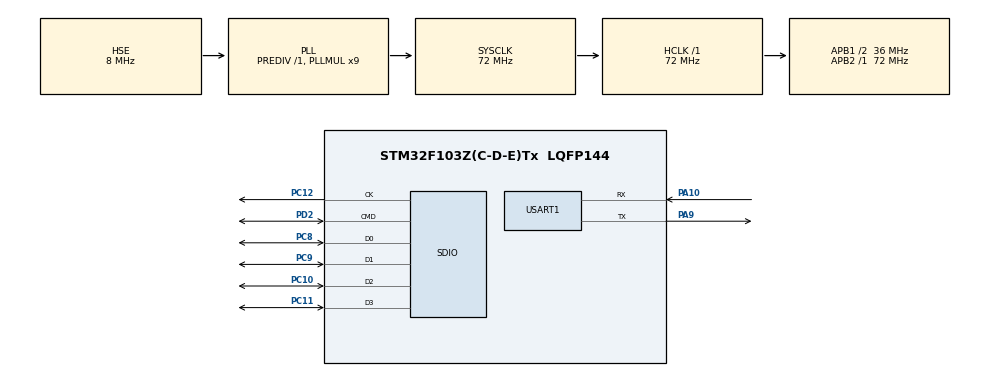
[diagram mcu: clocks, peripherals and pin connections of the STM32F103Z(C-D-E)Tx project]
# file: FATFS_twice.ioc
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Dma.Request0=SDIO
Dma.SDIO.0.Direction=DMA_PERIPH_TO_MEMORY
Dma.SDIO.0.Instance=DMA2_Channel4
Dma.SDIO.0.MemDataAlignment=DMA_MDATAALIGN_WORD
Dma.SDIO.0.MemInc=DMA_MINC_ENABLE
Dma.SDIO.0.Mode=DMA_NORMAL
Dma.SDIO.0.PeriphDataAlignment=DMA_PDATAALIGN_WORD
Dma.SDIO.0.PeriphInc=DMA_PINC_DISABLE
Dma.SDIO.0.Priority=DMA_PRIORITY_LOW
FATFS._CODE_PAGE=936
FATFS._FS_NORTC=1
FATFS._USE_LFN=2
Mcu.Family=STM32F1
Mcu.Name=STM32F103Z(C-D-E)Tx
Mcu.Package=LQFP144
NVIC.DMA2_Channel4_5_IRQn=true\:2\:0\:true\:false\:true\:false\:true
NVIC.PriorityGroup=NVIC_PRIORITYGROUP_4
NVIC.SDIO_IRQn=true\:0\:0\:false\:false\:true\:true\:true
OSC_IN.Mode=HSE-External-Oscillator
OSC_IN.Signal=RCC_OSC_IN
OSC_OUT.Mode=HSE-External-Oscillator
OSC_OUT.Signal=RCC_OSC_OUT
PA10.Mode=Asynchronous
PA10.Signal=USART1_RX
PA9.Mode=Asynchronous
PA9.Signal=USART1_TX
PC10.Mode=SD_4_bits_Wide_bus
PC10.Signal=SDIO_D2
PC11.Mode=SD_4_bits_Wide_bus
PC11.Signal=SDIO_D3
PC12.Mode=SD_4_bits_Wide_bus
PC12.Signal=SDIO_CK
PC8.Mode=SD_4_bits_Wide_bus
PC8.Signal=SDIO_D0
PC9.Mode=SD_4_bits_Wide_bus
PC9.Signal=SDIO_D1
PD2.Mode=SD_4_bits_Wide_bus
PD2.Signal=SDIO_CMD
ProjectManager.HeapSize=0x400
ProjectManager.StackSize=0x1000
ProjectManager.TargetToolchain=MDK-ARM V5.27
RCC.AHBFreq_Value=72000000
RCC.APB1CLKDivider=RCC_HCLK_DIV2
RCC.APB1Freq_Value=36000000
RCC.APB1TimFreq_Value=72000000
RCC.APB2Freq_Value=72000000
RCC.APB2TimFreq_Value=72000000
RCC.HCLKFreq_Value=72000000
RCC.PLLMUL=RCC_PLL_MUL9
RCC.PLLSourceVirtual=RCC_PLLSOURCE_HSE
RCC.SYSCLKFreq_VALUE=72000000
RCC.SYSCLKSource=RCC_SYSCLKSOURCE_PLLCLK
RCC.USBFreq_Value=72000000
SDIO.ClockDiv=4
USART1.VirtualMode=VM_ASYNC
VP_FATFS_VS_SDIO.Mode=SDIO
VP_SYS_VS_ND.Mode=No_Debug
board=custom

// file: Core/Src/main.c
/* USER CODE BEGIN Header */
/**
  ******************************************************************************
  * @file           : main.c
  * @brief          : Main program body
  ******************************************************************************
  * @attention
  *
  * <h2><center>&copy; Copyright (c) 2021 STMicroelectronics.
  * All rights reserved.</center></h2>
  *
  * This software component is licensed by ST under BSD 3-Clause license,
  * the "License"; You may not use this file except in compliance with the
  * License. You may obtain a copy of the License at:
  *                        opensource.org/licenses/BSD-3-Clause
  *
  ******************************************************************************
  */
/* USER CODE END Header */
#include "main.h"
#include "fatfs.h"

/* USER CODE BEGIN Includes */
#include "debug.h"
/* USER CODE END Includes */

/* USER CODE BEGIN PD */
#define block_num 8
#define block_size 512
#define TESTADDR 0x00000020
/* USER CODE END PD */

SD_HandleTypeDef hsd;
DMA_HandleTypeDef hdma_sdio;

UART_HandleTypeDef huart1;

/* USER CODE BEGIN PV */
__align(4) uint8_t BufferRx[block_num * block_size];
__align(4) uint8_t BufferTx[block_num * block_size];

FATFS fs;                 // Work area (file system object) for logical drive
FIL fil;                  // file objects
uint32_t byteswritten;                /* File write counts */
uint32_t bytesread;                   /* File read counts */
uint8_t wtext[] = "This is STM32 working with FatFs"; /* File write buffer */
uint8_t rtext[100];                     /* File read buffers */
char filename[] = "STM32cube.txt";

/* USER CODE END PV */

void SystemClock_Config(void);
static void MX_GPIO_Init(void);
static void MX_DMA_Init(void);
static void MX_SDIO_SD_Init(void);
static void MX_USART1_UART_Init(void);

/* USER CODE BEGIN 0 */
int eBuffercmp(uint8_t* pBuffer, uint32_t BufferLength)
{
    while(BufferLength--)
    {
        if((*pBuffer != 0xFF) && (*pBuffer != 0))
        {
            return -1;
        }
        pBuffer++;
    }
    return 0;
}

int Buffercmp(uint8_t* pBuffer1, uint8_t* pBuffer2, uint32_t BufferLength)
{
    while(BufferLength--)
    {
        if(*pBuffer1 != *pBuffer2)
        {
            return -1;
        }
        pBuffer1++;
        pBuffer2++;
    }
    return 0;
}

void Fill_Buffer(uint8_t* pBuffer, uint32_t BufferLength, uint32_t offset)
{
    uint32_t index = 0;

    for(index = 0; index < BufferLength; index++)
    {
        pBuffer[index] = index + offset;
    }
}

void set_dma_read(SD_HandleTypeDef* hsd)
{
    /* SDIO DMA DeInit */
    HAL_DMA_DeInit(hsd->hdmatx);

    hdma_sdio.Instance = DMA2_Channel4;
    hdma_sdio.Init.Direction = DMA_PERIPH_TO_MEMORY;
    hdma_sdio.Init.PeriphInc = DMA_PINC_DISABLE;
    hdma_sdio.Init.MemInc = DMA_MINC_ENABLE;
    hdma_sdio.Init.PeriphDataAlignment = DMA_PDATAALIGN_WORD;
    hdma_sdio.Init.MemDataAlignment = DMA_MDATAALIGN_WORD;
    hdma_sdio.Init.Mode = DMA_NORMAL;
    hdma_sdio.Init.Priority = DMA_PRIORITY_LOW;
    if(HAL_DMA_Init(&hdma_sdio) != HAL_OK)
    {
        Error_Handler();
    }

    __HAL_LINKDMA(hsd, hdmarx, hdma_sdio);
}

void set_dma_write(SD_HandleTypeDef* hsd)
{

    /* SDIO DMA DeInit */
    HAL_DMA_DeInit(hsd->hdmarx);

    hdma_sdio.Instance = DMA2_Channel4;
    hdma_sdio.Init.Direction = DMA_MEMORY_TO_PERIPH;
    hdma_sdio.Init.PeriphInc = DMA_PINC_DISABLE;
    hdma_sdio.Init.MemInc = DMA_MINC_ENABLE;
    hdma_sdio.Init.PeriphDataAlignment = DMA_PDATAALIGN_WORD;
    hdma_sdio.Init.MemDataAlignment = DMA_MDATAALIGN_WORD;
    hdma_sdio.Init.Mode = DMA_NORMAL;
    hdma_sdio.Init.Priority = DMA_PRIORITY_LOW;
    if(HAL_DMA_Init(&hdma_sdio) != HAL_OK)
    {
        Error_Handler();
    }

    __HAL_LINKDMA(hsd, hdmatx, hdma_sdio);
}

void SD_EraseTest(void)
{
    int state = -1;

    if(HAL_OK == HAL_SD_Erase(&hsd, TESTADDR, TESTADDR + block_num * block_size))
    {
        printf("SD Erase over\r\n");
    }
    else
    {
        printf("SD Erase fail\r\n");
        while(1);
    }

    HAL_Delay(500);              //bug1

    state = HAL_SD_ReadBlocks(&hsd, BufferRx, TESTADDR, block_num, 0xffff);
    if(HAL_OK == state)
    {
        printf("SD read\r\n");
        if(0 == eBuffercmp(BufferRx, block_num * block_size))
        {
            printf("erase successful\r\n");
        }
    }
    else
    {
        printf("error:%d\r\n", state);
        printf("SD read error\r\n");
        printf("errcode:%d\r\n", HAL_SD_GetError(&hsd));
        while(1);
    }

}

int state = -1;
void SD_Write_Read_Test(void)
{

    Fill_Buffer(BufferTx, block_num * block_size, 0x0001);

    set_dma_write(&hsd);
    if(HAL_OK == HAL_SD_WriteBlocks_DMA(&hsd, BufferTx, TESTADDR, block_num))
    {
        printf("write ok\r\n");
    }

    HAL_Delay(1000);

    set_dma_read(&hsd);
    if(HAL_SD_ReadBlocks_DMA(&hsd, BufferRx, TESTADDR, block_num) == HAL_OK)
    {
        printf("read ok\r\n");
    }

    HAL_Delay(1000);

    if(0 == Buffercmp(BufferTx, BufferRx, block_num * block_size))
        printf("读写测试成功！\r\n");
    else
        printf("读写测试失败！\r\n ");
}

void Fatfs_RW_test(void)
{
    printf("\r\n ****** FatFs Example ******\r\n\r\n");

    /*##-1- Register the file system object to the FatFs module ##############*/
    retSD = f_mount(&fs, "", 1);
    if(retSD)
    {
        printf(" mount error : %d \r\n", retSD);
        Error_Handler();
    }
    else
        printf(" mount sucess!!! \r\n");

    /*##-2- Create and Open new text file objects with write access ######*/
    retSD = f_open(&fil, "note.txt", FA_CREATE_ALWAYS | FA_WRITE);
    if(retSD)
        printf(" open file error : %d\r\n", retSD);
    else
        printf(" open file sucess!!! \r\n");

    /*##-3- Write data to the text files ###############################*/
    retSD = f_write(&fil, "welcome my home!", sizeof("welcome my home!"), (void*)&byteswritten);
    if(retSD)
        printf(" write file error : %d\r\n", retSD);
    else
    {
        printf(" write file sucess!!! \r\n");
        printf(" write Data : %s\r\n", wtext);
    }

    /*##-4- Close the open text files ################################*/
    retSD = f_close(&fil);
    if(retSD)
        printf(" close error : %d\r\n", retSD);
    else
        printf(" close sucess!!! \r\n");

    /*##-5- Open the text files object with read access ##############*/
    retSD = f_open(&fil, "note.txt", FA_READ);
    if(retSD)
        printf(" open file error : %d\r\n", retSD);
    else
        printf(" open file sucess!!! \r\n");

    /*##-6- Read data from the text files ##########################*/
    retSD = f_read(&fil, rtext, sizeof(rtext), (UINT*)&bytesread);
    if(retSD)
        printf(" read error!!! %d\r\n", retSD);
    else
    {
        printf(" read sucess!!! \r\n");
        printf(" read Data : %s\r\n", rtext);
    }

    /*##-7- Close the open text files ############################*/
    retSD = f_close(&fil);
    if(retSD)
        printf(" close error!!! %d\r\n", retSD);
    else
        printf(" close sucess!!! \r\n");

    /*##-8- Compare read data with the expected data ############*/
    if(bytesread == byteswritten)
    {
        printf(" FatFs is working well!!!\r\n");
    }
}

/* USER CODE END 0 */

int main(void)
{

    /* MCU Configuration--------------------------------------------------------*/

    /* Reset of all peripherals, Initializes the Flash interface and the Systick. */
    HAL_Init();

    /* Configure the system clock */
    SystemClock_Config();

    /* Initialize all configured peripherals */
    MX_GPIO_Init();
    MX_DMA_Init();
    MX_SDIO_SD_Init();
    MX_USART1_UART_Init();
    MX_FATFS_Init();
    /* USER CODE BEGIN 2 */

//  SD_EraseTest();
//  SD_Write_Read_Test();
    Fatfs_RW_test();

    /* USER CODE END 2 */

    /* Infinite loop */
    while(1)
    {

    }
}

void SystemClock_Config(void)
{
    RCC_OscInitTypeDef RCC_OscInitStruct = {0};
    RCC_ClkInitTypeDef RCC_ClkInitStruct = {0};

    /** Initializes the RCC Oscillators according to the specified parameters
    * in the RCC_OscInitTypeDef structure.
    */
    RCC_OscInitStruct.OscillatorType = RCC_OSCILLATORTYPE_HSE;
    RCC_OscInitStruct.HSEState = RCC_HSE_ON;
    RCC_OscInitStruct.HSEPredivValue = RCC_HSE_PREDIV_DIV1;
    RCC_OscInitStruct.HSIState = RCC_HSI_ON;
    RCC_OscInitStruct.PLL.PLLState = RCC_PLL_ON;
    RCC_OscInitStruct.PLL.PLLSource = RCC_PLLSOURCE_HSE;
    RCC_OscInitStruct.PLL.PLLMUL = RCC_PLL_MUL9;
    if(HAL_RCC_OscConfig(&RCC_OscInitStruct) != HAL_OK)
    {
        Error_Handler();
    }
    /** Initializes the CPU, AHB and APB buses clocks
    */
    RCC_ClkInitStruct.ClockType = RCC_CLOCKTYPE_HCLK | RCC_CLOCKTYPE_SYSCLK
                                  | RCC_CLOCKTYPE_PCLK1 | RCC_CLOCKTYPE_PCLK2;
    RCC_ClkInitStruct.SYSCLKSource = RCC_SYSCLKSOURCE_PLLCLK;
    RCC_ClkInitStruct.AHBCLKDivider = RCC_SYSCLK_DIV1;
    RCC_ClkInitStruct.APB1CLKDivider = RCC_HCLK_DIV2;
    RCC_ClkInitStruct.APB2CLKDivider = RCC_HCLK_DIV1;

    if(HAL_RCC_ClockConfig(&RCC_ClkInitStruct, FLASH_LATENCY_2) != HAL_OK)
    {
        Error_Handler();
    }
}

static void MX_SDIO_SD_Init(void)
{

    hsd.Instance = SDIO;
    hsd.Init.ClockEdge = SDIO_CLOCK_EDGE_RISING;
    hsd.Init.ClockBypass = SDIO_CLOCK_BYPASS_DISABLE;
    hsd.Init.ClockPowerSave = SDIO_CLOCK_POWER_SAVE_DISABLE;
    hsd.Init.BusWide = SDIO_BUS_WIDE_1B;
    hsd.Init.HardwareFlowControl = SDIO_HARDWARE_FLOW_CONTROL_DISABLE;
    hsd.Init.ClockDiv = 4;

}

static void MX_USART1_UART_Init(void)
{

    huart1.Instance = USART1;
    huart1.Init.BaudRate = 115200;
    huart1.Init.WordLength = UART_WORDLENGTH_8B;
    huart1.Init.StopBits = UART_STOPBITS_1;
    huart1.Init.Parity = UART_PARITY_NONE;
    huart1.Init.Mode = UART_MODE_TX_RX;
    huart1.Init.HwFlowCtl = UART_HWCONTROL_NONE;
    huart1.Init.OverSampling = UART_OVERSAMPLING_16;
    if(HAL_UART_Init(&huart1) != HAL_OK)
    {
        Error_Handler();
    }

}

static void MX_DMA_Init(void)
{

    /* DMA controller clock enable */
    __HAL_RCC_DMA2_CLK_ENABLE();

    /* DMA interrupt init */
    /* DMA2_Channel4_5_IRQn interrupt configuration */
    HAL_NVIC_SetPriority(DMA2_Channel4_5_IRQn, 2, 0);
    HAL_NVIC_EnableIRQ(DMA2_Channel4_5_IRQn);

}

static void MX_GPIO_Init(void)
{

    /* GPIO Ports Clock Enable */
    __HAL_RCC_GPIOC_CLK_ENABLE();
    __HAL_RCC_GPIOA_CLK_ENABLE();
    __HAL_RCC_GPIOD_CLK_ENABLE();

}

void Error_Handler(void)
{
    __disable_irq();
    while(1)
    {
    }
}

/************************ (C) COPYRIGHT STMicroelectronics *****END OF FILE****/
